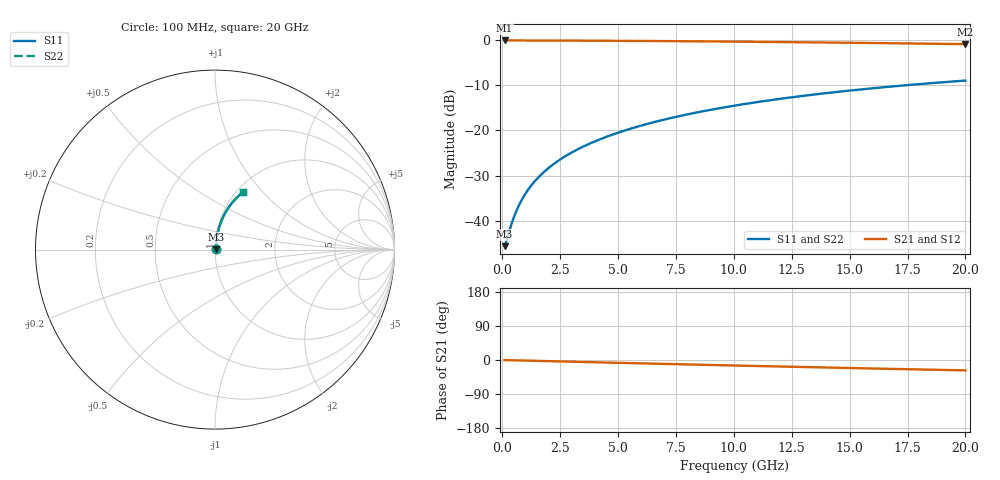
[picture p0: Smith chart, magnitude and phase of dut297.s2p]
! Touchstone file exported from HFSS 2024.1.0
!  File:  C:/UserFiles/LocalFiles/RDL_TSV_Batchsim/temp_RDL_bottom_297_1778703654.aedt
!  Generated:  04:23:29 AM May 14, 2026
!  Design:  RDL_bottom
!  Project:  temp_RDL_bottom_297_1778703654
!  Setup:  Setup1
!  Solution:  Sweep
! Variables:
!  dtsv = 10.80580581um
!  hbump = 3um
!  htsv = 58.44um
!  ldown = 291.58um
!  lrdl = 100um
!  p = 40
!  p1 = 48.86um
!  rhole = 1um
!  t = 450um
!  tdown = 2.01um
!  trdl = 3.915915916um
!  wdown = 11.17um
!  wrdl = 20um
# GHz S MA R 50.000000
! Terminal data exported
! Port[1] = RDL1_T1
! Port[2] = RDL1_T2
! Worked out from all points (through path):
!   200 points, 100 MHz to 20 GHz, reference 50 ohm
!   highest |S21| = -0.04 dB at 100 MHz (marker M1); lowest = -0.9 dB at 20 GHz (marker M2)
!   group delay of S21, straight-line fit = 3.8 ps
!   lowest |S11| = -45.7 dB at 100 MHz (marker M3), VSWR 1.01, Z = 50.5 + j0.196 ohm
!   |S11| at or under -10 dB: start of sweep to 17.38 GHz
!   |S22| runs from -45.7 to -8.9 dB; largest |S21 - S12| = 3.8e-15
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0.1  0.005203 22.0  0.9952 -0.2  0.9952 -0.2  0.005203 22.0
! Gamma 0 0 0 0
! Port Impedance 50 0 50 0
0.2  0.006221 38.7  0.9951 -0.3  0.9951 -0.3  0.006221 38.7
0.4  0.009208 57.3  0.995 -0.6  0.995 -0.6  0.009208 57.3
0.6  0.01266 66.0  0.9949 -0.9  0.9949 -0.9  0.01266 66.0
0.7  0.01445 68.7  0.9948 -1.1  0.9948 -1.1  0.01445 68.7
0.9  0.01808 72.4  0.9946 -1.4  0.9946 -1.4  0.01808 72.4
1.1  0.02174 74.8  0.9943 -1.7  0.9943 -1.7  0.02174 74.8
1.3  0.02541 76.4  0.9941 -2.0  0.9941 -2.0  0.02541 76.4
1.7  0.03278 78.5  0.9936 -2.6  0.9936 -2.6  0.03278 78.5
2.2  0.04205 80.0  0.9928 -3.3  0.9928 -3.3  0.04205 79.9
2.8  0.05321 80.8  0.9918 -4.2  0.9918 -4.2  0.05321 80.8
3.5  0.06628 81.1  0.9903 -5.3  0.9903 -5.3  0.06628 81.1
4.2  0.07939 81.1  0.9886 -6.3  0.9886 -6.3  0.07939 81.1
5  0.09441 80.7  0.9863 -7.5  0.9863 -7.5  0.09441 80.7
5.9  0.1113 80.2  0.9834 -8.8  0.9834 -8.8  0.1113 80.2
6.8  0.1282 79.4  0.9801 -10.1  0.9801 -10.1  0.1282 79.4
8.3  0.1563 77.9  0.974 -12.2  0.974 -12.2  0.1563 77.9
10.1  0.1897 75.9  0.9656 -14.7  0.9656 -14.7  0.1897 75.9
11.7  0.2188 74.0  0.9574 -16.8  0.9574 -16.8  0.2188 74.0
13.4  0.249 72.0  0.948 -19.1  0.948 -19.1  0.249 72.0
16.7  0.3051 67.9  0.928 -23.3  0.928 -23.3  0.3051 67.9
20  0.3573 63.9  0.9063 -27.4  0.9063 -27.4  0.3573 63.9
